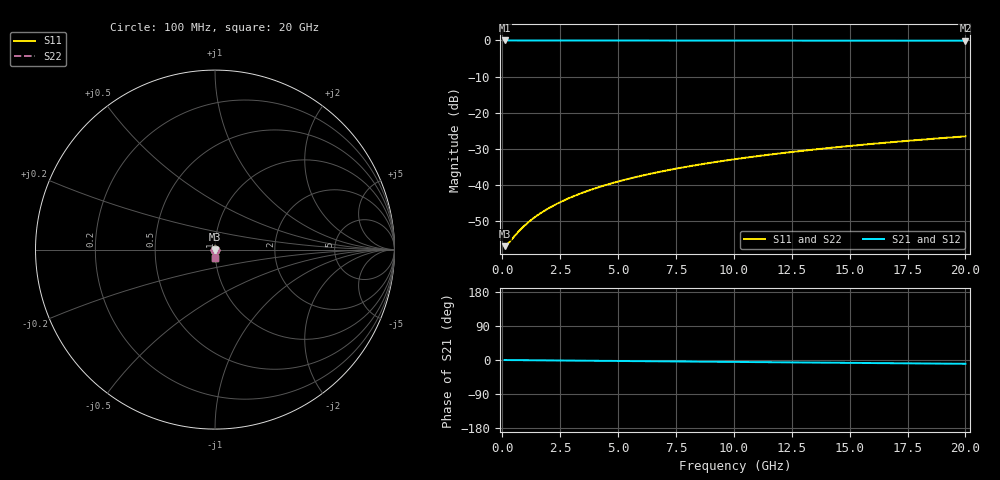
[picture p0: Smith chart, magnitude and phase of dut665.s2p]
! Touchstone file exported from HFSS 2026.1.0
!  File:  C:/ffzhzh/LocalFiles/Ansys_Project_Files/temp_train_BSMRDL_665_1783017238_53980.aedt
!  Generated:  02:35:15 AM Jul  3, 2026
!  Design:  BSMRDL
!  Project:  temp_train_BSMRDL_665_1783017238_53980
! Variables:
!  h_bsmrdl = 2.16um
!  h_ox = 20um
!  h_rdl = 5um
!  h_sub = 80um
!  h_tmrdl = 5um
!  h_tsv = 80um
!  h_via = 3um
!  l_bsmrdl = 158.77um
!  l_sub = 558.77um
!  l_tmrdl = 200um
!  m_sub = 200um
!  pitch = 28.81um
!  r_tsv = 6um
!  s_tmrdl = 10um
!  w_bsmrdl = 27.48um
!  w_sub = 500um
!  w_tmrdl = 12um
!  x_tsv_center1 = 206um
!  x_tsv_center2 = 392.25um
!  x_tsv_center3 = 604.25um
!  x_tsv_center4 = 790.5um
!  x_tsv_center5 = 1002.5um
!  x_tsv_center6 = 1188.75um
# GHz S MA R 50.000000
! Terminal data exported
! Port[1] = BSM_RDL1_1_T1
! Port[2] = BSM_RDL1_1_T2
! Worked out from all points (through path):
!   200 points, 100 MHz to 20 GHz, reference 50 ohm
!   highest |S21| = -0.01 dB at 100 MHz (marker M1); lowest = -0.1 dB at 20 GHz (marker M2)
!   group delay of S21, straight-line fit = 1.39 ps
!   lowest |S11| = -57.0 dB at 100 MHz (marker M3), VSWR 1.00, Z = 50.1 + j0.00242 ohm
!   |S11| at or under -10 dB: start of sweep to end of sweep
!   |S22| runs from -57.0 to -26.6 dB; largest |S21 - S12| = 4.5e-15
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0.1  0.001416 1.0  0.9986 -0.1  0.9986 -0.1  0.001416 1.0
! Gamma 0 0 0 0
! Port Impedance 50 0 50 0
0.2  0.001493 1.2  0.9985 -0.1  0.9985 -0.1  0.001493 1.2
0.3  0.001608 0.3  0.9984 -0.2  0.9984 -0.2  0.001608 0.3
0.7  0.002256 -11.5  0.9978 -0.4  0.9978 -0.4  0.002256 -11.5
0.9  0.00262 -18.8  0.9975 -0.5  0.9975 -0.5  0.002619 -18.8
1.2  0.00318 -28.8  0.9972 -0.7  0.9972 -0.7  0.00318 -28.8
1.6  0.003949 -39.4  0.9969 -0.9  0.9969 -0.9  0.003949 -39.4
2  0.004741 -47.3  0.9967 -1.1  0.9967 -1.1  0.004741 -47.3
2.5  0.005758 -54.4  0.9965 -1.3  0.9965 -1.3  0.005758 -54.4
3  0.006799 -59.7  0.9964 -1.6  0.9964 -1.6  0.006798 -59.7
3.5  0.007858 -63.6  0.9963 -1.8  0.9963 -1.8  0.007857 -63.6
4.2  0.009366 -67.7  0.9961 -2.2  0.9961 -2.2  0.009365 -67.7
5  0.01112 -71.1  0.9959 -2.6  0.9959 -2.6  0.01112 -71.1
5.9  0.01313 -74.0  0.9956 -3.0  0.9956 -3.0  0.01312 -74.0
6.8  0.01516 -76.2  0.9954 -3.5  0.9954 -3.5  0.01516 -76.2
8.3  0.01861 -79.0  0.9949 -4.2  0.9949 -4.2  0.0186 -79.0
10.1  0.02281 -81.5  0.9944 -5.2  0.9944 -5.2  0.02281 -81.5
11.7  0.02661 -83.3  0.9938 -5.9  0.9938 -5.9  0.0266 -83.3
13.4  0.03069 -84.9  0.9932 -6.8  0.9932 -6.8  0.03068 -84.9
15  0.03457 -86.3  0.9926 -7.6  0.9926 -7.6  0.03456 -86.3
16.7  0.03873 -87.5  0.9919 -8.4  0.9919 -8.4  0.03872 -87.6
20  0.04695 -89.7  0.9905 -10.1  0.9905 -10.1  0.04694 -89.8
